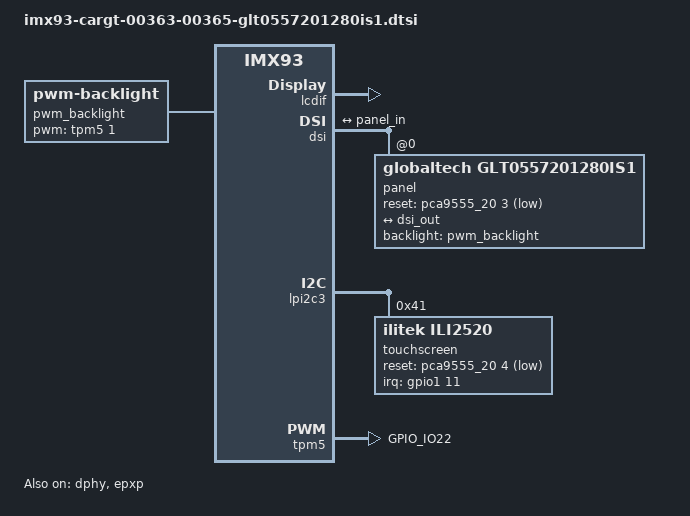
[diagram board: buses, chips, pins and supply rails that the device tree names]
 / {
	 pwm_backlight: pwm_backlight {
		compatible = "pwm-backlight";
		pwms = <&tpm5 1 5000000 0>; // 200 Hz
		brightness-levels = <0 100>;
		num-interpolated-steps = <100>;
		default-brightness-level = <80>;
		status = "okay";
	};
};
	
&lcdif {
	status = "okay";
	assigned-clock-rates = <445333333>, <148444444>, <400000000>, <133333333>;
};

&dphy {
	status = "okay";
};
	
&dsi {
	#address-cells = <1>;
	#size-cells = <0>;
	status = "okay";

	panel@0 {
		compatible = "globaltech,glt0557201280is1", "ilitek,ili9881c";
		reg = <0>;
		pinctrl-names = "default";
		rotation = <90>;
		reset-gpios = <&pca9555_20 3 GPIO_ACTIVE_LOW>;
		backlight = <&pwm_backlight>;
		status = "okay";

		port {
			panel_in: endpoint {
				remote-endpoint = <&dsi_out>;
			};
		};
	};

	ports {
		port@1 {
			reg = <1>;

			dsi_out: endpoint {
				remote-endpoint = <&panel_in>;
			};
		};
	};
};

&lpi2c3 {
	status = "okay";

	touchscreen@41 {
		compatible = "ilitek,ili2520";
		reg = <0x41>;

		pinctrl-0 = <&pinctrl_touchscreen>;
		reset-gpios = <&pca9555_20 4 GPIO_ACTIVE_LOW>;
		interrupt-parent = <&gpio1>;
		interrupts = <11 IRQ_TYPE_LEVEL_LOW>;
		touchscreen-swapped-x-y;
		touchscreen-inverted-x;
		wakeup-source;
	};
};

&tpm5 {
	pinctrl-names = "default";
	pinctrl-0 = <&pinctrl_backlight_pwm>;
	status = "okay";
};

&epxp {
	status = "okay";
};

&iomuxc {

	pinctrl_backlight_pwm: backlight-pwmgrp {
		fsl,pins = <			    
		MX93_PAD_GPIO_IO22__TPM5_CH1		0x2
	>;
	};

	pinctrl_touchscreen: touchscreengrp {
		fsl,pins = <
			MX93_PAD_SAI1_TXFS__GPIO1_IO11			0x31e // DSICT_nINT
		>;	
	};
};

